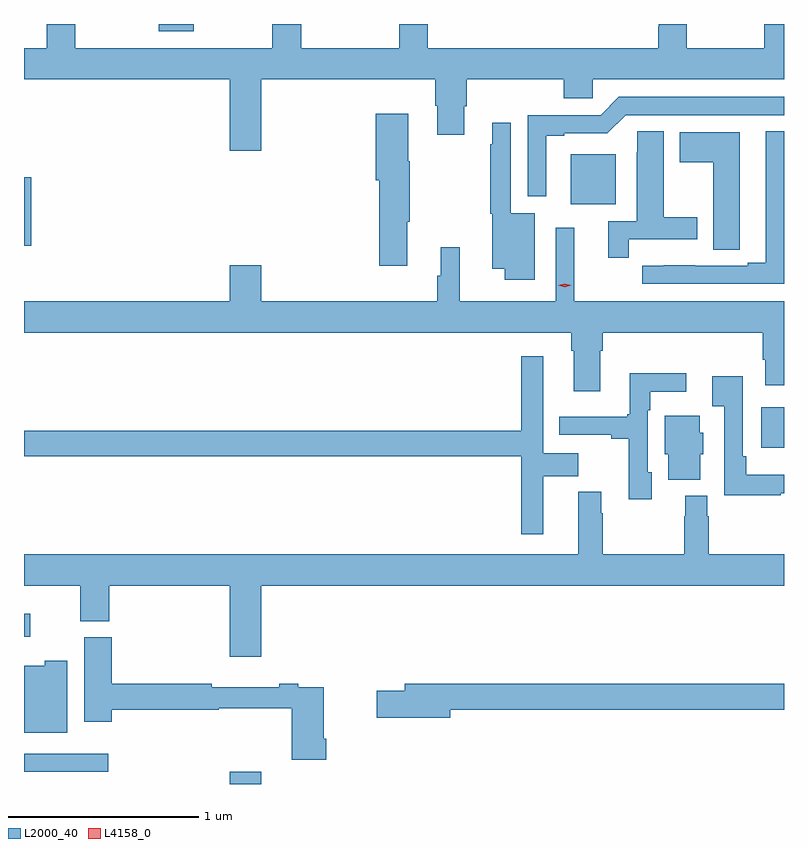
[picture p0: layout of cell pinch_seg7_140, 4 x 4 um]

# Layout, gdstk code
import gdstk
lib = gdstk.Library(unit=1e-6, precision=1e-09)
def R(c, l, rs):  # rectangles x0, y0, x1, y1
    for r in rs: c.add(gdstk.rectangle(r[:2], r[2:], *l))
def P(c, l, *ps):  # polygons
    for p in ps: c.add(gdstk.Polygon(p, *l))
L2000_40 = (2000, 40)
L4158_0 = (4158, 0)

pinch_seg7_140 = lib.new_cell('pinch_seg7_140')
R(pinch_seg7_140, L2000_40, [(1064.108,1016.888,1064.272,1016.953), (1063.024,1016.952,1063.468,1017.048), (1063.024,1017.662,1063.057,1017.784), (1066.904,1018.658,1067.024,1018.87), (1063.024,1019.722,1063.061,1020.082), (1065.902,1019.939,1066.138,1020.202), (1063.733,1020.851,1063.918,1020.888)])
P(pinch_seg7_140, L2000_40, [(1064.272,1020.596),(1065.188,1020.596),(1065.188,1020.459),(1065.2,1020.459),(1065.2,1020.306),(1065.34,1020.306),(1065.34,1020.454),(1065.353,1020.454),(1065.353,1020.596),(1065.866,1020.596),(1065.866,1020.498),(1066.017,1020.498),(1066.017,1020.596),(1067.024,1020.596),(1067.024,1020.888),(1066.919,1020.888),(1066.919,1020.76),(1066.513,1020.76),(1066.513,1020.888),(1066.366,1020.888),(1066.366,1020.873),(1066.361,1020.873),(1066.361,1020.76),(1065.15,1020.76),(1065.15,1020.888),(1064.999,1020.888),(1064.999,1020.76),(1064.483,1020.76),(1064.483,1020.888),(1064.33,1020.888),(1064.33,1020.76),(1063.293,1020.76),(1063.293,1020.888),(1063.145,1020.888),(1063.145,1020.76),(1063.024,1020.76),(1063.024,1020.596),(1064.108,1020.596),(1064.108,1020.222),(1064.272,1020.222)],
  [(1065.772,1020.3),(1065.868,1020.3),(1065.868,1020.312),(1066.095,1020.312),(1066.191,1020.408),(1067.024,1020.408),(1067.024,1020.504),(1066.155,1020.504),(1066.059,1020.408),(1065.675,1020.408),(1065.675,1019.982),(1065.772,1019.982)],
  [(1065.04,1019.847),(1065.054,1019.847),(1065.054,1020.166),(1065.046,1020.166),(1065.046,1020.415),(1064.876,1020.415),(1064.876,1020.066),(1064.894,1020.066),(1064.894,1019.616),(1065.04,1019.616)],
  [(1065.712,1019.893),(1065.585,1019.893),(1065.585,1020.367),(1065.488,1020.367),(1065.488,1020.254),(1065.477,1020.254),(1065.477,1019.889),(1065.488,1019.889),(1065.488,1019.6),(1065.554,1019.6),(1065.554,1019.541),(1065.712,1019.541)],
  [(1066.208,1019.754),(1066.567,1019.754),(1066.567,1019.871),(1066.39,1019.871),(1066.39,1020.323),(1066.251,1020.323),(1066.251,1020.212),(1066.25,1020.212),(1066.25,1019.85),(1066.1,1019.85),(1066.1,1019.658),(1066.208,1019.658)],
  [(1067.024,1020.323),(1066.928,1020.323),(1066.928,1019.631),(1066.832,1019.631),(1066.832,1019.616),(1066.556,1019.616),(1066.556,1019.617),(1066.39,1019.617),(1066.39,1019.616),(1066.278,1019.616),(1066.278,1019.52),(1067.024,1019.52)],
  [(1066.791,1019.809),(1066.792,1019.809),(1066.792,1020.319),(1066.475,1020.319),(1066.475,1020.16),(1066.652,1020.16),(1066.652,1019.701),(1066.791,1019.701)],
  [(1066.057,1019.168),(1066.07,1019.168),(1066.07,1019.264),(1066.913,1019.264),(1066.913,1019.122),(1066.925,1019.122),(1066.925,1018.986),(1067.024,1018.986),(1067.024,1019.428),(1065.92,1019.428),(1065.92,1019.815),(1065.822,1019.815),(1065.822,1019.428),(1065.318,1019.428),(1065.318,1019.713),(1065.218,1019.713),(1065.218,1019.562),(1065.199,1019.562),(1065.199,1019.428),(1064.272,1019.428),(1064.272,1019.617),(1064.108,1019.617),(1064.108,1019.428),(1063.024,1019.428),(1063.024,1019.264),(1065.905,1019.264),(1065.905,1019.168),(1065.917,1019.168),(1065.917,1018.956),(1066.057,1018.956)],
  [(1065.758,1018.508),(1065.941,1018.508),(1065.941,1018.63),(1065.756,1018.63),(1065.756,1018.873),(1065.757,1018.873),(1065.757,1019.14),(1065.64,1019.14),(1065.64,1018.748),(1063.024,1018.748),(1063.024,1018.612),(1065.64,1018.612),(1065.64,1018.203),(1065.758,1018.203)],
  [(1066.327,1018.53),(1066.308,1018.53),(1066.308,1018.856),(1066.321,1018.856),(1066.321,1018.953),(1066.51,1018.953),(1066.51,1019.051),(1066.211,1019.051),(1066.211,1018.834),(1066.2,1018.834),(1066.2,1018.822),(1065.841,1018.822),(1065.841,1018.725),(1066.115,1018.725),(1066.115,1018.705),(1066.207,1018.705),(1066.207,1018.386),(1066.327,1018.386)],
  [(1067.006,1018.419),(1067.024,1018.419),(1067.024,1018.516),(1066.826,1018.516),(1066.826,1018.612),(1066.806,1018.612),(1066.806,1019.035),(1066.647,1019.035),(1066.647,1018.875),(1066.71,1018.875),(1066.71,1018.407),(1067.006,1018.407)],
  [(1066.582,1018.623),(1066.6,1018.623),(1066.6,1018.737),(1066.581,1018.737),(1066.581,1018.827),(1066.397,1018.827),(1066.397,1018.623),(1066.415,1018.623),(1066.415,1018.489),(1066.582,1018.489)],
  [(1064.272,1017.932),(1067.024,1017.932),(1067.024,1018.096),(1066.629,1018.096),(1066.629,1018.298),(1066.621,1018.298),(1066.621,1018.404),(1066.505,1018.404),(1066.505,1018.298),(1066.498,1018.298),(1066.498,1018.096),(1066.071,1018.096),(1066.071,1018.313),(1066.063,1018.313),(1066.063,1018.426),(1065.941,1018.426),(1065.941,1018.096),(1063.024,1018.096),(1063.024,1017.932),(1063.319,1017.932),(1063.319,1017.745),(1063.472,1017.745),(1063.472,1017.932),(1064.108,1017.932),(1064.108,1017.558),(1064.272,1017.558)],
  [(1064.615,1017.127),(1064.602,1017.127),(1064.602,1017.396),(1064.468,1017.396),(1064.468,1017.416),(1064.368,1017.416),(1064.368,1017.397),(1064.012,1017.397),(1064.012,1017.416),(1063.487,1017.416),(1063.487,1017.66),(1063.34,1017.66),(1063.34,1017.216),(1063.487,1017.216),(1063.487,1017.28),(1064.048,1017.28),(1064.048,1017.288),(1064.432,1017.288),(1064.432,1017.015),(1064.615,1017.015)],
  [(1063.252,1017.538),(1063.134,1017.538),(1063.134,1017.511),(1063.024,1017.511),(1063.024,1017.158),(1063.252,1017.158)],
  [(1065.268,1017.28),(1067.024,1017.28),(1067.024,1017.416),(1065.029,1017.416),(1065.029,1017.38),(1064.88,1017.38),(1064.88,1017.238),(1065.268,1017.238)])
P(pinch_seg7_140, L4158_0, [(1065.87,1019.502),(1065.835,1019.512),(1065.835,1019.512),(1065.835,1019.513),(1065.87,1019.522),(1065.905,1019.513),(1065.905,1019.512),(1065.905,1019.512)])

lib.write_gds('pinch_seg7_140.gds')
